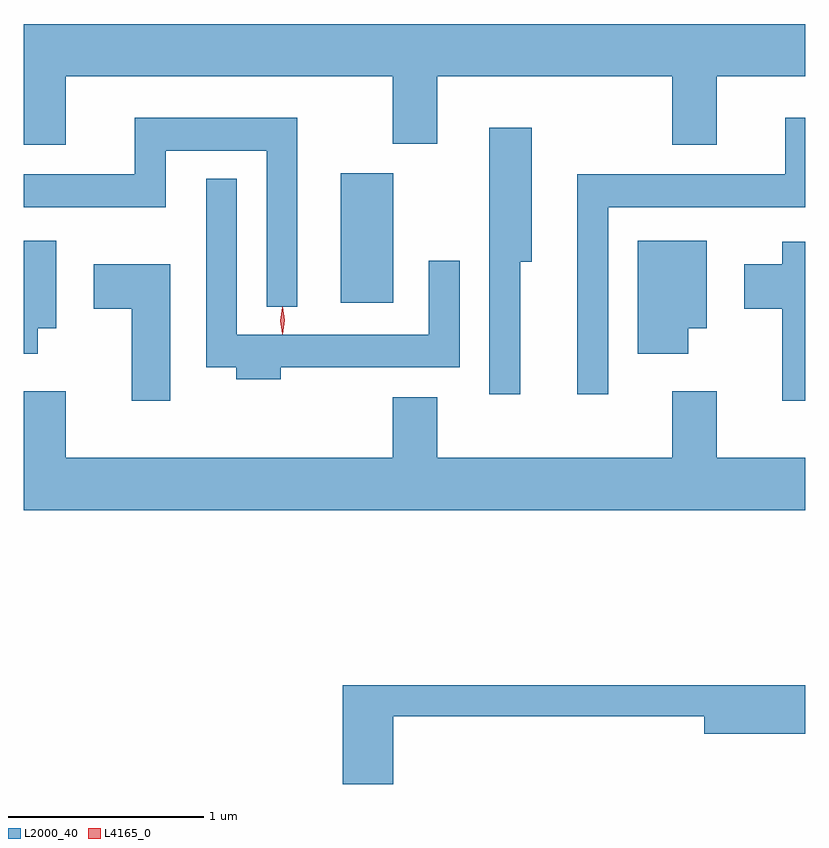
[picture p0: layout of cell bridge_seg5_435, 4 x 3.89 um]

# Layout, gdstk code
import gdstk
lib = gdstk.Library(unit=1e-6, precision=1e-09)
def R(c, l, rs):  # rectangles x0, y0, x1, y1
    for r in rs: c.add(gdstk.rectangle(r[:2], r[2:], *l))
def P(c, l, *ps):  # polygons
    for p in ps: c.add(gdstk.Polygon(p, *l))
L2000_40 = (2000, 40)
L4165_0 = (4165, 0)

bridge_seg5_435 = lib.new_cell('bridge_seg5_435')
R(bridge_seg5_435, L2000_40, [(388.786,1491.156,389.054,1491.819)])
P(bridge_seg5_435, L2000_40, [(387.379,1492.316),(389.051,1492.316),(389.051,1491.971),(389.279,1491.971),(389.279,1492.316),(390.481,1492.316),(390.481,1491.966),(390.709,1491.966),(390.709,1492.316),(391.163,1492.316),(391.163,1492.584),(387.163,1492.584),(387.163,1491.966),(387.379,1491.966)],
  [(390.154,1491.646),(391.163,1491.646),(391.163,1492.104),(391.061,1492.104),(391.061,1491.814),(389.996,1491.814),(389.996,1490.688),(390.154,1490.688)],
  [(388.564,1492.104),(387.731,1492.104),(387.731,1491.814),(387.163,1491.814),(387.163,1491.646),(387.889,1491.646),(387.889,1491.936),(388.406,1491.936),(388.406,1491.138),(388.564,1491.138)],
  [(389.704,1491.366),(389.764,1491.366),(389.764,1492.054),(389.546,1492.054),(389.546,1490.688),(389.704,1490.688)],
  [(388.479,1490.826),(389.394,1490.826),(389.394,1491.373),(389.236,1491.373),(389.236,1490.994),(388.254,1490.994),(388.254,1491.793),(388.096,1491.793),(388.096,1490.826),(388.251,1490.826),(388.251,1490.766),(388.479,1490.766)],
  [(387.234,1491.026),(387.329,1491.026),(387.329,1491.474),(387.163,1491.474),(387.163,1490.896),(387.234,1490.896)],
  [(390.564,1491.026),(390.659,1491.026),(390.659,1491.474),(390.306,1491.474),(390.306,1490.896),(390.564,1490.896)],
  [(391.163,1491.469),(391.046,1491.469),(391.046,1491.354),(390.851,1491.354),(390.851,1491.126),(391.046,1491.126),(391.046,1490.656),(391.163,1490.656)],
  [(387.914,1491.354),(387.521,1491.354),(387.521,1491.126),(387.716,1491.126),(387.716,1490.656),(387.914,1490.656)],
  [(391.163,1490.364),(390.709,1490.364),(390.709,1490.704),(390.481,1490.704),(390.481,1490.364),(389.279,1490.364),(389.279,1490.674),(389.051,1490.674),(389.051,1490.364),(387.379,1490.364),(387.379,1490.704),(387.163,1490.704),(387.163,1490.096),(391.163,1490.096)],
  [(389.054,1489.041),(390.646,1489.041),(390.646,1488.951),(391.163,1488.951),(391.163,1489.199),(388.796,1489.199),(388.796,1488.694),(389.054,1488.694)])
P(bridge_seg5_435, L4165_0, [(388.487,1490.997),(388.478,1491.067),(388.487,1491.136),(388.488,1491.136),(388.488,1491.136),(388.498,1491.067),(388.488,1490.997),(388.488,1490.997)],
  [(388.486,1490.999),(388.486,1491),(388.476,1491.066),(388.486,1491.132),(388.486,1491.133),(388.487,1491.132),(388.496,1491.066),(388.487,1491)])

lib.write_gds('bridge_seg5_435.gds')
